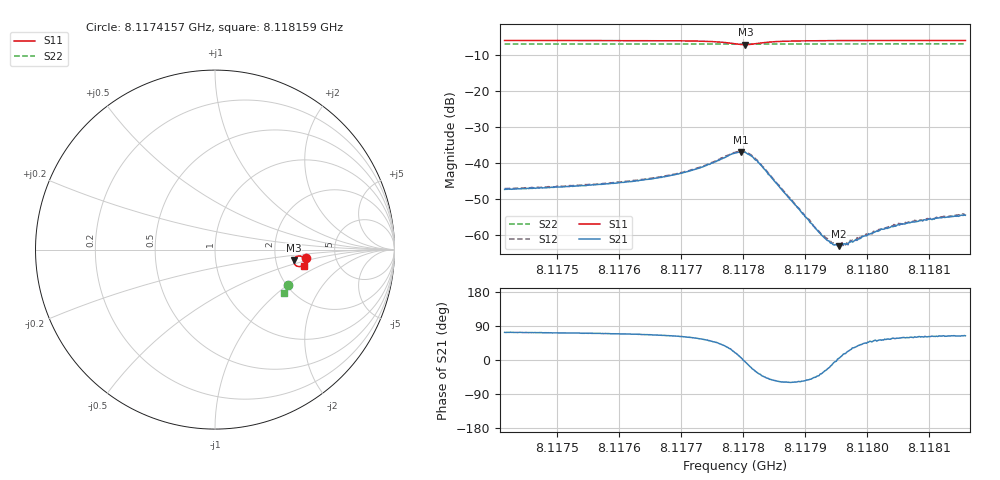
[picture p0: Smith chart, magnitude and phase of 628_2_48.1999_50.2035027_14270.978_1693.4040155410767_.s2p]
#  HZ  S  RI  R  50.00
! Rohde & Schwarz Vector Network Analyzer
! Rohde-Schwarz,ZNB20-2Port,1311601062101988,3.16
! Created: UTC 3/20/2024, 12:04:12 PM
! freq[Hz]  re:S11  im:S11  re:S21  im:S21  re:S12  im:S12  re:S22  im:S22
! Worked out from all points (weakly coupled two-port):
!   401 points, 8.1174157 GHz to 8.118159 GHz, reference 50 ohm
!   highest |S21| = -36.87 dB at 8.1177966 GHz (marker M1); lowest = -63.0 dB at 8.1179546 GHz (marker M2)
!   lowest |S11| = -7.1 dB at 8.1178041 GHz (marker M3), VSWR 2.59, Z = 126 - j18.9 ohm
!   |S11| at or under -10 dB: nowhere
!   |S22| runs from -6.9 to -6.8 dB; largest |S21 - S12| = 0.00058
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8.1174157e9  0.5048 -0.0473  0.00128 0.00416  0.00131 0.00427  0.408 -0.1959
8.1175402e9  0.5027 -0.0591  0.00164 0.00462  0.00166 0.00469  0.4043 -0.2038
8.11761081e9  0.501 -0.0669  0.00199 0.00511  0.00207 0.00525  0.4022 -0.2084
8.1176647e9  0.4981 -0.0743  0.00263 0.00576  0.0027 0.0059  0.4004 -0.2119
8.11772231e9  0.4905 -0.0853  0.00434 0.00695  0.00449 0.00708  0.3983 -0.2158
8.11778735e9  0.4479 -0.0862  0.0131 0.00454  0.0133 0.0048  0.3944 -0.2192
8.11779664e9  0.44 -0.0735  0.0142 0.00167  0.0146 0.00178  0.3939 -0.219
8.11780407e9  0.4392 -0.0601  0.0141 -0.00127  0.0142 -0.00137  0.3938 -0.219
8.11781522e9  0.4484 -0.0431  0.0114 -0.00493  0.0117 -0.00494  0.3941 -0.219
8.11782637e9  0.463 -0.0357  0.00803 -0.00603  0.00831 -0.00611  0.3945 -0.2194
8.11785796e9  0.4888 -0.0432  0.00266 -0.00402  0.00279 -0.00417  0.3947 -0.2219
8.11791185e9  0.4986 -0.0596  0.000948 -0.00108  0.000932 -0.0011  0.3934 -0.226
8.11792486e9  0.4993 -0.0624  0.000852 -0.000638  0.000846 -0.000683  0.3927 -0.2269
8.11793787e9  0.4998 -0.0649  0.000785 -0.00031  0.000797 -0.000346  0.3924 -0.2278
8.11794716e9  0.4999 -0.0666  0.000731 -7.87e-05  0.00078 -0.000131  0.392 -0.2285
8.11795459e9  0.4999 -0.0677  0.000707 4.86e-05  0.000714 2.9e-05  0.3918 -0.2288
8.1179676e9  0.5001 -0.0697  0.00072 0.000271  0.000741 0.000279  0.3914 -0.2299
8.11797689e9  0.5001 -0.0711  0.000684 0.000429  0.000742 0.000448  0.391 -0.2305
8.11799547e9  0.5001 -0.0736  0.000704 0.000681  0.000725 0.000666  0.3904 -0.2314
8.11803635e9  0.4997 -0.0783  0.000738 0.00105  0.00073 0.00112  0.3891 -0.2342
8.11808838e9  0.4993 -0.0838  0.000769 0.00141  0.000799 0.00143  0.3873 -0.2373
8.118159e9  0.4983 -0.0905  0.000839 0.00171  0.00086 0.00171  0.3848 -0.2417
